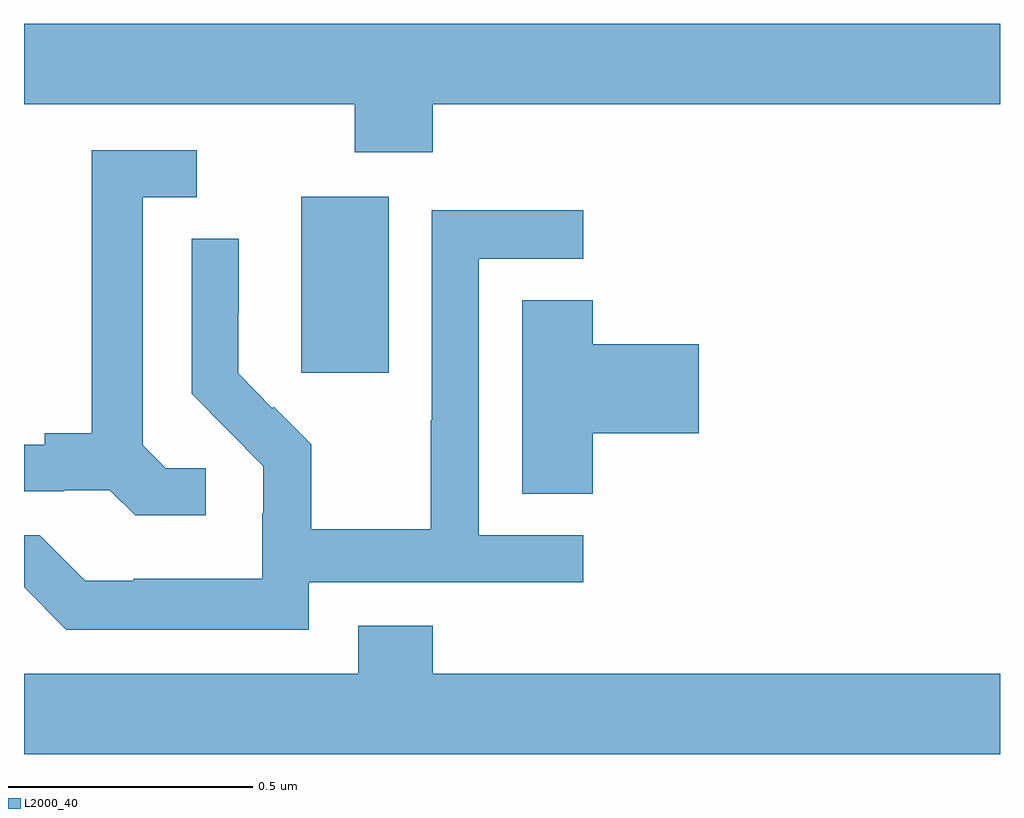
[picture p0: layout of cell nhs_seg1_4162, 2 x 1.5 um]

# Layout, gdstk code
import gdstk
lib = gdstk.Library(unit=1e-6, precision=1e-09)
def R(c, l, rs):  # rectangles x0, y0, x1, y1
    for r in rs: c.add(gdstk.rectangle(r[:2], r[2:], *l))
def P(c, l, *ps):  # polygons
    for p in ps: c.add(gdstk.Polygon(p, *l))
L2000_40 = (2000, 40)

nhs_seg1_4162 = lib.new_cell('nhs_seg1_4162')
R(nhs_seg1_4162, L2000_40, [(163.568,515.217,163.747,515.578)])
P(nhs_seg1_4162, L2000_40, [(163.838,515.768),(165,515.768),(165,515.932),(163,515.932),(163,515.768),(163.678,515.768),(163.678,515.669),(163.838,515.669)],
  [(163.372,515.022),(163.29,515.022),(163.243,515.069),(163.243,515.577),(163.354,515.577),(163.354,515.673),(163.139,515.673),(163.139,515.093),(163.043,515.093),(163.043,515.07),(163,515.07),(163,514.974),(163.082,514.974),(163.082,514.977),(163.176,514.977),(163.228,514.925),(163.372,514.925)],
  [(163.584,514.788),(164.146,514.788),(164.146,514.884),(163.932,514.884),(163.932,515.451),(164.146,515.451),(164.146,515.55),(163.836,515.55),(163.836,515.12),(163.834,515.12),(163.834,514.897),(163.589,514.897),(163.589,515.071),(163.512,515.148),(163.509,515.145),(163.439,515.216),(163.439,515.338),(163.44,515.338),(163.44,515.492),(163.344,515.492),(163.344,515.174),(163.417,515.101),(163.416,515.1),(163.49,515.026),(163.49,514.929),(163.488,514.929),(163.488,514.795),(163.225,514.795),(163.225,514.791),(163.125,514.791),(163.032,514.884),(163,514.884),(163,514.778),(163.087,514.691),(163.584,514.691)],
  [(164.165,515.093),(164.383,515.093),(164.383,515.276),(164.165,515.276),(164.165,515.366),(164.021,515.366),(164.021,514.969),(164.165,514.969)],
  [(165,514.6),(163.838,514.6),(163.838,514.699),(163.685,514.699),(163.685,514.6),(163,514.6),(163,514.436),(165,514.436)])

lib.write_gds('nhs_seg1_4162.gds')
